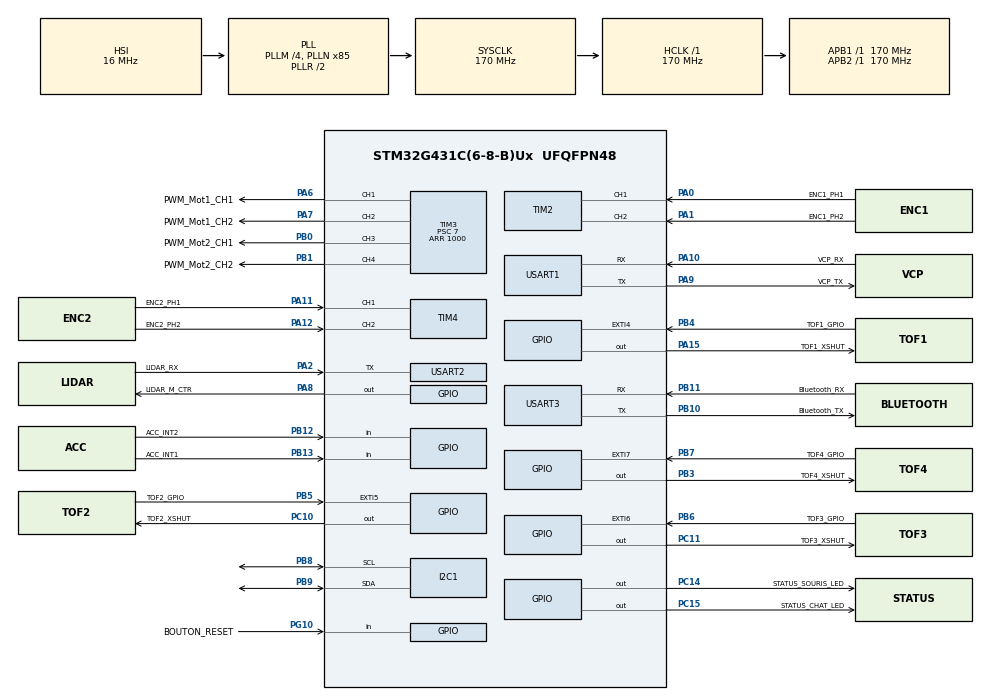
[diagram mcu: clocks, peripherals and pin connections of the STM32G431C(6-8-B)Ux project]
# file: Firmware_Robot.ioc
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Dma.Request0=USART2_RX
Dma.USART2_RX.0.Direction=DMA_PERIPH_TO_MEMORY
Dma.USART2_RX.0.EventEnable=DISABLE
Dma.USART2_RX.0.Instance=DMA1_Channel1
Dma.USART2_RX.0.MemDataAlignment=DMA_MDATAALIGN_BYTE
Dma.USART2_RX.0.MemInc=DMA_MINC_ENABLE
Dma.USART2_RX.0.Mode=DMA_CIRCULAR
Dma.USART2_RX.0.PeriphDataAlignment=DMA_PDATAALIGN_BYTE
Dma.USART2_RX.0.PeriphInc=DMA_PINC_DISABLE
Dma.USART2_RX.0.Polarity=HAL_DMAMUX_REQ_GEN_RISING
Dma.USART2_RX.0.Priority=DMA_PRIORITY_LOW
Dma.USART2_RX.0.RequestNumber=1
Dma.USART2_RX.0.SignalID=NONE
Dma.USART2_RX.0.SyncEnable=DISABLE
Dma.USART2_RX.0.SyncPolarity=HAL_DMAMUX_SYNC_NO_EVENT
Dma.USART2_RX.0.SyncRequestNumber=1
Dma.USART2_RX.0.SyncSignalID=NONE
FREERTOS.Tasks01=defaultTask,0,128,StartDefaultTask,Default,NULL,Dynamic,NULL,NULL
FREERTOS.configTOTAL_HEAP_SIZE=20000
FREERTOS.configUSE_NEWLIB_REENTRANT=1
I2C1.Timing=0x40B285C2
Mcu.Family=STM32G4
Mcu.Name=STM32G431C(6-8-B)Ux
Mcu.Package=UFQFPN48
NVIC.DMA1_Channel1_IRQn=true\:5\:0\:false\:false\:true\:true\:false\:true\:true
NVIC.EXTI4_IRQn=true\:5\:0\:false\:false\:true\:true\:true\:true\:true
NVIC.EXTI9_5_IRQn=true\:5\:0\:false\:false\:true\:true\:true\:true\:true
NVIC.PriorityGroup=NVIC_PRIORITYGROUP_4
NVIC.TIM1_UP_TIM16_IRQn=true\:15\:0\:false\:false\:true\:false\:false\:true\:true
NVIC.TimeBase=TIM1_UP_TIM16_IRQn
NVIC.TimeBaseIP=TIM1
NVIC.USART3_IRQn=true\:5\:0\:false\:false\:true\:true\:true\:true\:true
PA0.GPIO_Label=ENC1_PH1
PA0.Signal=S_TIM2_CH1
PA1.GPIO_Label=ENC1_PH2
PA1.Signal=S_TIM2_CH2
PA10.GPIO_Label=VCP_RX
PA10.Mode=Asynchronous
PA10.Signal=USART1_RX
PA11.GPIO_Label=ENC2_PH1
PA11.Signal=S_TIM4_CH1
PA12.GPIO_Label=ENC2_PH2
PA12.Signal=S_TIM4_CH2
PA13.Mode=Serial_Wire
PA13.Signal=SYS_JTMS-SWDIO
PA14.Mode=Serial_Wire
PA14.Signal=SYS_JTCK-SWCLK
PA15.GPIO_Label=TOF1_XSHUT
PA15.Signal=GPIO_Output
PA2.GPIO_Label=LIDAR_RX
PA2.Mode=Half_duplex(single_wire_mode)
PA2.Signal=USART2_TX
PA6.GPIO_Label=PWM_Mot1_CH1
PA6.Signal=S_TIM3_CH1
PA7.GPIO_Label=PWM_Mot1_CH2
PA7.Signal=S_TIM3_CH2
PA8.GPIO_Label=LIDAR_M_CTR
PA8.Signal=GPIO_Output
PA9.GPIO_Label=VCP_TX
PA9.Mode=Asynchronous
PA9.Signal=USART1_TX
PB0.GPIO_Label=PWM_Mot2_CH1
PB0.Signal=S_TIM3_CH3
PB1.GPIO_Label=PWM_Mot2_CH2
PB1.Signal=S_TIM3_CH4
PB10.GPIO_Label=Bluetooth_TX
PB10.Mode=Asynchronous
PB10.Signal=USART3_TX
PB11.GPIO_Label=Bluetooth_RX
PB11.Mode=Asynchronous
PB11.Signal=USART3_RX
PB12.GPIO_Label=ACC_INT2
PB12.Signal=GPIO_Input
PB13.GPIO_Label=ACC_INT1
PB13.Signal=GPIO_Input
PB3.GPIO_Label=TOF4_XSHUT
PB3.Signal=GPIO_Output
PB4.GPIO_Label=TOF1_GPIO
PB4.GPIO_ModeDefaultEXTI=GPIO_MODE_IT_FALLING
PB4.GPIO_PuPd=GPIO_PULLUP
PB4.Signal=GPXTI4
PB5.GPIO_Label=TOF2_GPIO
PB5.GPIO_ModeDefaultEXTI=GPIO_MODE_IT_FALLING
PB5.GPIO_PuPd=GPIO_PULLUP
PB5.Signal=GPXTI5
PB6.GPIO_Label=TOF3_GPIO
PB6.GPIO_ModeDefaultEXTI=GPIO_MODE_IT_FALLING
PB6.GPIO_PuPd=GPIO_PULLUP
PB6.Signal=GPXTI6
PB7.GPIO_Label=TOF4_GPIO
PB7.GPIO_ModeDefaultEXTI=GPIO_MODE_IT_FALLING
PB7.GPIO_PuPd=GPIO_PULLUP
PB7.Signal=GPXTI7
PB8-BOOT0.Mode=I2C
PB8-BOOT0.Signal=I2C1_SCL
PB9.Mode=I2C
PB9.Signal=I2C1_SDA
PC10.GPIO_Label=TOF2_XSHUT
PC10.Signal=GPIO_Output
PC11.GPIO_Label=TOF3_XSHUT
PC11.Signal=GPIO_Output
PC14-OSC32_IN.GPIO_Label=STATUS_SOURIS_LED
PC14-OSC32_IN.Signal=GPIO_Output
PC15-OSC32_OUT.GPIO_Label=STATUS_CHAT_LED
PC15-OSC32_OUT.Signal=GPIO_Output
PF0-OSC_IN.Mode=HSE-External-Oscillator
PF0-OSC_IN.Signal=RCC_OSC_IN
PF1-OSC_OUT.Mode=HSE-External-Oscillator
PF1-OSC_OUT.Signal=RCC_OSC_OUT
PG10-NRST.GPIO_Label=BOUTON_RESET
PG10-NRST.Signal=GPIO_Input
ProjectManager.HeapSize=0x200
ProjectManager.StackSize=0x400
ProjectManager.TargetToolchain=STM32CubeIDE
RCC.ADC12Freq_Value=170000000
RCC.AHBFreq_Value=170000000
RCC.APB1Freq_Value=170000000
RCC.APB1TimFreq_Value=170000000
RCC.APB2Freq_Value=170000000
RCC.APB2TimFreq_Value=170000000
RCC.CortexFreq_Value=170000000
RCC.EXTERNAL_CLOCK_VALUE=12288000
RCC.HCLKFreq_Value=170000000
RCC.HSE_VALUE=16000000
RCC.HSI48_VALUE=48000000
RCC.HSI_VALUE=16000000
RCC.LSE_VALUE=32768
RCC.PLLM=RCC_PLLM_DIV4
RCC.PLLN=85
RCC.SYSCLKFreq_VALUE=170000000
RCC.SYSCLKSource=RCC_SYSCLKSOURCE_PLLCLK
RCC.USBFreq_Value=170000000
RCC.VCOOutputFreq_Value=340000000
SH.S_TIM2_CH1.0=TIM2_CH1,Encoder_Interface
SH.S_TIM2_CH2.0=TIM2_CH2,Encoder_Interface
SH.S_TIM3_CH1.0=TIM3_CH1,PWM Generation1 CH1
SH.S_TIM3_CH2.0=TIM3_CH2,PWM Generation2 CH2
SH.S_TIM3_CH3.0=TIM3_CH3,PWM Generation3 CH3
SH.S_TIM3_CH4.0=TIM3_CH4,PWM Generation4 CH4
SH.S_TIM4_CH1.0=TIM4_CH1,Encoder_Interface
SH.S_TIM4_CH2.0=TIM4_CH2,Encoder_Interface
TIM2.EncoderMode=TIM_ENCODERMODE_TI12
TIM3.Channel-PWM\ Generation1\ CH1=TIM_CHANNEL_1
TIM3.Channel-PWM\ Generation2\ CH2=TIM_CHANNEL_2
TIM3.Channel-PWM\ Generation3\ CH3=TIM_CHANNEL_3
TIM3.Channel-PWM\ Generation4\ CH4=TIM_CHANNEL_4
TIM3.PeriodNoDither=1000
TIM3.Prescaler=7
TIM4.EncoderMode=TIM_ENCODERMODE_TI12
USART1.VirtualMode-Asynchronous=VM_ASYNC
USART2.Mode=MODE_RX
USART2.VirtualMode-Half_duplex(single_wire_mode)=VM_ASYNC
USART3.VirtualMode-Asynchronous=VM_ASYNC
USART3.VirtualMode-Half_duplex(single_wire_mode)=VM_ASYNC
VP_FREERTOS_VS_CMSIS_V1.Mode=CMSIS_V1
VP_SYS_VS_DBSignals.Mode=DisableDeadBatterySignals
VP_SYS_VS_tim1.Mode=TIM1
board=custom

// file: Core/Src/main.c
/* USER CODE BEGIN Header */
/**
  ******************************************************************************
  * @file           : main.c
  * @brief          : Main program body
  ******************************************************************************
  * @attention
  *
  * Copyright (c) 2025 STMicroelectronics.
  * All rights reserved.
  *
  * This software is licensed under terms that can be found in the LICENSE file
  * in the root directory of this software component.
  * If no LICENSE file comes with this software, it is provided AS-IS.
  *
  ******************************************************************************
  */
/* USER CODE END Header */
#include "main.h"
#include "cmsis_os.h"
#include "dma.h"
#include "i2c.h"
#include "tim.h"
#include "usart.h"
#include "gpio.h"

/* USER CODE BEGIN Includes */
#include "tof.h"
#include <stdio.h>
/* USER CODE END Includes */

void SystemClock_Config(void);
void MX_FREERTOS_Init(void);

/* USER CODE BEGIN 0 */
int __io_putchar(int ch)
{
	HAL_UART_Transmit(&huart1, (uint8_t*)&ch, 1, HAL_MAX_DELAY);
	HAL_UART_Transmit(&huart3, (uint8_t*)&ch, 1, HAL_MAX_DELAY);
	return ch;
}
/* USER CODE END 0 */

int main(void)
{

  /* MCU Configuration--------------------------------------------------------*/

  /* Reset of all peripherals, Initializes the Flash interface and the Systick. */
  HAL_Init();

  /* Configure the system clock */
  SystemClock_Config();

  /* Initialize all configured peripherals */
  MX_GPIO_Init();
  MX_DMA_Init();
  MX_I2C1_Init();
  MX_USART2_UART_Init();
  MX_USART3_UART_Init();
  MX_USART1_UART_Init();
  MX_TIM2_Init();
  MX_TIM3_Init();
  MX_TIM4_Init();
  /* USER CODE BEGIN 2 */
  printf("Starting System...\r\n");
  TOF_Init_All();
  printf("TOF Init Done.\r\n");
  /* USER CODE END 2 */

  /* Call init function for freertos objects (in cmsis_os2.c) */
  MX_FREERTOS_Init();

  /* Start scheduler */
  vTaskStartScheduler();

  /* We should never get here as control is now taken by the scheduler */

  /* Infinite loop */
  while (1)
  {

  }
}

void SystemClock_Config(void)
{
  RCC_OscInitTypeDef RCC_OscInitStruct = {0};
  RCC_ClkInitTypeDef RCC_ClkInitStruct = {0};

  /** Configure the main internal regulator output voltage
  */
  HAL_PWREx_ControlVoltageScaling(PWR_REGULATOR_VOLTAGE_SCALE1_BOOST);

  /** Initializes the RCC Oscillators according to the specified parameters
  * in the RCC_OscInitTypeDef structure.
  */
  RCC_OscInitStruct.OscillatorType = RCC_OSCILLATORTYPE_HSI;
  RCC_OscInitStruct.HSIState = RCC_HSI_ON;
  RCC_OscInitStruct.HSICalibrationValue = RCC_HSICALIBRATION_DEFAULT;
  RCC_OscInitStruct.PLL.PLLState = RCC_PLL_ON;
  RCC_OscInitStruct.PLL.PLLSource = RCC_PLLSOURCE_HSI;
  RCC_OscInitStruct.PLL.PLLM = RCC_PLLM_DIV4;
  RCC_OscInitStruct.PLL.PLLN = 85;
  RCC_OscInitStruct.PLL.PLLP = RCC_PLLP_DIV2;
  RCC_OscInitStruct.PLL.PLLQ = RCC_PLLQ_DIV2;
  RCC_OscInitStruct.PLL.PLLR = RCC_PLLR_DIV2;
  if (HAL_RCC_OscConfig(&RCC_OscInitStruct) != HAL_OK)
  {
    Error_Handler();
  }

  /** Initializes the CPU, AHB and APB buses clocks
  */
  RCC_ClkInitStruct.ClockType = RCC_CLOCKTYPE_HCLK|RCC_CLOCKTYPE_SYSCLK
                              |RCC_CLOCKTYPE_PCLK1|RCC_CLOCKTYPE_PCLK2;
  RCC_ClkInitStruct.SYSCLKSource = RCC_SYSCLKSOURCE_PLLCLK;
  RCC_ClkInitStruct.AHBCLKDivider = RCC_SYSCLK_DIV1;
  RCC_ClkInitStruct.APB1CLKDivider = RCC_HCLK_DIV1;
  RCC_ClkInitStruct.APB2CLKDivider = RCC_HCLK_DIV1;

  if (HAL_RCC_ClockConfig(&RCC_ClkInitStruct, FLASH_LATENCY_4) != HAL_OK)
  {
    Error_Handler();
  }
}

void HAL_TIM_PeriodElapsedCallback(TIM_HandleTypeDef *htim)
{
  if (htim->Instance == TIM1)
  {
    HAL_IncTick();
  }
}

void Error_Handler(void)
{
  __disable_irq();
  while (1)
  {
  }
}

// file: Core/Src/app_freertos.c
/* USER CODE BEGIN Header */
/**
  ******************************************************************************
  * File Name          : app_freertos.c
  * Description        : Code for freertos applications
  ******************************************************************************
  * @attention
  *
  * Copyright (c) 2025 STMicroelectronics.
  * All rights reserved.
  *
  * This software is licensed under terms that can be found in the LICENSE file
  * in the root directory of this software component.
  * If no LICENSE file comes with this software, it is provided AS-IS.
  *
  ******************************************************************************
  */
/* USER CODE END Header */

#include "FreeRTOS.h"
#include "task.h"
#include "main.h"
#include "cmsis_os.h"

/* USER CODE BEGIN Includes */
#include "usart.h"
#include "i2c.h"
#include "tim.h"
#include <stdio.h>
#include "lidar.h"
#include "imu.h"
#include "tof.h"
#include "motor.h"
#include "pid.h"
#include "odometry.h"
#include "strategy.h"
#include "hc-05_bluetooth.h"

extern UART_HandleTypeDef huart1;
extern UART_HandleTypeDef huart3;
/* USER CODE END Includes */

/* USER CODE BEGIN Variables */
// Task Handles
TaskHandle_t xLidarTaskHandle = NULL;
TaskHandle_t xImuTaskHandle = NULL;
TaskHandle_t xSafetyTaskHandle = NULL;
TaskHandle_t xControlTaskHandle = NULL;

// Mutex Handles
SemaphoreHandle_t xI2C1Mutex = NULL;
SemaphoreHandle_t xUARTMutex = NULL;

// Lidar Buffer
uint8_t lidar_dma_buffer[LIDAR_DMA_BUFFER_SIZE];

// Motor Handles
Motor_Handle_t hMotor1;
Motor_Handle_t hMotor2;

// Control & Navigation
PID_Controller_t pid_vel_left;  // PID Vitesse Moteur Gauche (Motor 2)
PID_Controller_t pid_vel_right; // PID Vitesse Moteur Droit (Motor 1)
Odometry_t robot_odom;          // Position du robot (X, Y, Theta)

volatile float target_speed_lin_x = 0.0f; // Vitesse linéaire cible
volatile float target_speed_ang_z = 0.0f; // Vitesse de rotation cible

volatile uint8_t g_safety_override = 0;

/* USER CODE END Variables */
osThreadId defaultTaskHandle;

/* USER CODE BEGIN FunctionPrototypes */
void vLidarTask(void *pvParameters);
void vImuTask(void *pvParameters);
void vSafetyTask(void *pvParameters);
void vControlTask(void *pvParameters);
void MX_Motor_Init(void);
/* USER CODE END FunctionPrototypes */

void StartDefaultTask(void const * argument);

void MX_FREERTOS_Init(void); /* (MISRA C 2004 rule 8.1) */

void MX_FREERTOS_Init(void) {
  /* USER CODE BEGIN Init */

  /* Create Mutexes */
  xI2C1Mutex = xSemaphoreCreateMutex();
  xUARTMutex = xSemaphoreCreateMutex();

  /* Initialize Drivers */
  MX_Motor_Init();
  Strategy_Init();
  HC05_Init();

  /* Create Tasks */
  if (xTaskCreate(vImuTask, "ImuTask", 256, NULL, 1, &xImuTaskHandle) != pdPASS) {
      printf("IMU Task Creation Failed\r\n");
      Error_Handler();
  }

  if (xTaskCreate(vLidarTask, "LidarTask", 512, NULL, 2, &xLidarTaskHandle) != pdPASS) {
      printf("Lidar Task Creation Failed\r\n");
      Error_Handler();
  }

  if (xTaskCreate(vSafetyTask, "SafetyTask", 256, NULL, 3, &xSafetyTaskHandle) != pdPASS) {
      printf("Safety Task Creation Failed\r\n");
      Error_Handler();
  }

  if (xTaskCreate(vControlTask, "ControlTask", 512, NULL, 4, &xControlTaskHandle) != pdPASS) {
      printf("Control Task Creation Failed\r\n");
      Error_Handler();
  }

  /* USER CODE END Init */
}

/* USER CODE BEGIN Application */

void MX_Motor_Init(void)
{
  /* Initialize Motors */
  // Motor 1 (Right): TIM3 CH1/CH2, Encoder TIM2 (32-bit)
  hMotor1.pwm_timer = &htim3;
  hMotor1.channel_fwd = TIM_CHANNEL_1; // PA6
  hMotor1.channel_rev = TIM_CHANNEL_2; // PA7
  hMotor1.enc_timer = &htim2;
  hMotor1.enc_resolution = 2048; //(Mode TI1/TI2)
  Motor_Init(&hMotor1);
  hMotor1.pwm_ramp_step = 100.0f;

  // Motor 2 (Left): TIM3 CH3/CH4, Encoder TIM4 (16-bit)
  hMotor2.pwm_timer = &htim3;
  hMotor2.channel_fwd = TIM_CHANNEL_3; // PB0
  hMotor2.channel_rev = TIM_CHANNEL_4; // PB1
  hMotor2.enc_timer = &htim4;
  hMotor2.enc_resolution = 2048;
  Motor_Init(&hMotor2);
  hMotor2.pwm_ramp_step = 100.0f;

  hMotor1.enc_timer->Instance->SMCR &= ~TIM_SMCR_ETF;
  hMotor1.enc_timer->Instance->SMCR |= (0x08 << TIM_SMCR_ETF_Pos);
  hMotor2.enc_timer->Instance->SMCR &= ~TIM_SMCR_ETF;
  hMotor2.enc_timer->Instance->SMCR |= (0x08 << TIM_SMCR_ETF_Pos);
}

void vControlTask(void *pvParameters)
{
    const float dt = 0.01f;

    PID_Init(&pid_vel_left,  5.0f, 20.0f, 0.0f, dt, -100.0f, 100.0f);
    PID_Init(&pid_vel_right, 5.0f, 20.0f, 0.0f, dt, -100.0f, 100.0f);

    Odom_Init(&robot_odom);
    Odom_SetPosition(&robot_odom, 0.0f, 0.0f, 0.0f);

    vTaskDelay(pdMS_TO_TICKS(500));

    Motor_ResetEncoder(&hMotor1);
    Motor_ResetEncoder(&hMotor2);

    PID_Reset(&pid_vel_left);
    PID_Reset(&pid_vel_right);

    TickType_t xLastWakeTime;
    xLastWakeTime = xTaskGetTickCount();

    for(;;)
    {
        Motor_UpdateSpeed(&hMotor1, dt); // Droit
        Motor_UpdateSpeed(&hMotor2, dt); // Gauche

        if (g_safety_override == 0) {
            // Force Forward Motion (Low Speed Test)
            /*target_speed_lin_x = 150.0f; // 150 mm/s
            target_speed_ang_z = 0.0f;   // Straight
            */
            if (Strategy_IsEnabled()) {
                Strategy_Update();
            } else {
                target_speed_lin_x = 0;
                target_speed_ang_z = 0;
            }

        }

        float speed_L = -hMotor2.speed_rad_s;
        float speed_R = hMotor1.speed_rad_s;
        Odom_Update(&robot_odom, speed_L, speed_R, dt);

        if (g_safety_override == 0)
        {
            float v_lin = target_speed_lin_x;
            float v_ang = target_speed_ang_z;
            float half_track = WHEEL_TRACK / 2.0f;
            float radius = WHEEL_DIAMETER / 2.0f;

            float target_rad_L = (v_lin - (v_ang * half_track)) / radius;
            float target_rad_R = (v_lin + (v_ang * half_track)) / radius;

            float pwm_L = PID_Compute(&pid_vel_left,  target_rad_L, speed_L);
            float pwm_R = PID_Compute(&pid_vel_right, target_rad_R, speed_R);

            Motor_SetSpeed(&hMotor2, -pwm_L);
            Motor_SetSpeed(&hMotor1, pwm_R);

            Motor_UpdatePWM(&hMotor2);
            Motor_UpdatePWM(&hMotor1);
        }
        vTaskDelayUntil(&xLastWakeTime, pdMS_TO_TICKS(10));
    }
}

void vLidarTask(void *pvParameters)
{
  ydlidar_init(lidar_dma_buffer, LIDAR_DMA_BUFFER_SIZE);

  uint16_t old_pos = 0;
  static uint32_t last_check = 0;

  for(;;)
  {
    uint16_t pos = LIDAR_DMA_BUFFER_SIZE - __HAL_DMA_GET_COUNTER(huart2.hdmarx);

    if (pos != old_pos) {
      if (pos > old_pos) {
        ydlidar_process_data(&lidar_dma_buffer[old_pos], pos - old_pos);
      } else {
        ydlidar_process_data(&lidar_dma_buffer[old_pos], LIDAR_DMA_BUFFER_SIZE - old_pos);
        if (pos > 0) {
            ydlidar_process_data(&lidar_dma_buffer[0], pos);
        }
      }
      old_pos = pos;
    }

    if ((HAL_GetTick() - last_check) > 100) {
        LidarObject_t objects[MAX_LIDAR_OBJECTS];
        uint8_t count = 0;

        if (xSemaphoreTake(xUARTMutex, portMAX_DELAY) == pdTRUE) {
            ydlidar_detect_objects(objects, &count);
            ydlidar_update_tracking(objects, count);

            xSemaphoreGive(xUARTMutex);

            // Get the closest tracked object and print its details
            LidarTarget_t closest_object = ydlidar_get_target();
            if (closest_object.is_valid) {
                printf("Closest Object -> Angle: %.2f, Distance: %.2f\r\n", closest_object.angle, closest_object.distance);
            }
        }

        last_check = HAL_GetTick();
    }

    vTaskDelay(pdMS_TO_TICKS(10));
  }
}

void vImuTask(void *pvParameters)
{
  if (xSemaphoreTake(xI2C1Mutex, portMAX_DELAY) == pdTRUE) {
      if (ADXL343_Init(&hi2c1) != HAL_OK) {
          printf("IMU Init Failed\r\n");
      } else {
          ADXL343_ConfigShock(&hi2c1, 3.5f, 10.0f);
          printf("IMU Init OK\r\n");
      }
      xSemaphoreGive(xI2C1Mutex);
  }

  adxl343_axes_t accel_data;
  uint8_t error_count = 0;

  for(;;)
  {
    if (xSemaphoreTake(xI2C1Mutex, portMAX_DELAY) == pdTRUE) {

        uint8_t shock_detected = 0;
        static uint32_t last_shock_time = 0;
        HAL_StatusTypeDef status_read;

        // Read Axes
        status_read = ADXL343_ReadAxes(&hi2c1, &accel_data);

        if (status_read != HAL_OK) {
            error_count++;
        } else {
            error_count = 0;
            if (ADXL343_CheckShock(&hi2c1)) {
                // Ignorer le choc si la manoeuvre de sécurité est en cours
                if (g_safety_override == 0) {
                    shock_detected = 1;
                }
            }
        }

        if (error_count > 5) {
            printf("IMU I2C Error. Resetting...\r\n");
            HAL_I2C_DeInit(&hi2c1);
            MX_I2C1_Init();
            HAL_Delay(10);
            ADXL343_Init(&hi2c1);
            ADXL343_ConfigShock(&hi2c1, 3.5f, 10.0f);
            error_count = 0;
        }

        xSemaphoreGive(xI2C1Mutex);

        if (shock_detected && (HAL_GetTick() - last_shock_time > 2000)) {
            printf("IMU: SHOCK DETECTED! Toggling Role.\r\n");
            Strategy_ToggleRole();
            last_shock_time = HAL_GetTick();
        }
    }
    vTaskDelay(pdMS_TO_TICKS(50));
  }
}

void vSafetyTask(void *pvParameters)
{
  uint16_t dist[4] = {0};

  // Delay start to allow sensors to boot
  vTaskDelay(pdMS_TO_TICKS(500));

  for(;;) {
      // Poll sensors (Blocking call - up to 20ms per sensor if not ready)
      if (xSemaphoreTake(xI2C1Mutex, portMAX_DELAY) == pdTRUE) {
          TOF_Read_All(dist);
          xSemaphoreGive(xI2C1Mutex);
      }

      // Check for Void (> 500mm)
      // TOF1: Fwd Right, TOF2: Fwd Left, TOF3: Rear Left, TOF4: Rear Right
      int void_fwd_right  = (dist[0] > 200);
      int void_fwd_left   = (dist[1] > 200);
      int void_rear_left  = (dist[2] > 200);
      int void_rear_right = (dist[3] > 200);

      if (void_fwd_left || void_fwd_right) {

          printf("Safety: VOID DETECTED! (D1:%d D2:%d D3:%d D4:%d)\r\n", dist[0], dist[1], dist[2], dist[3]);
          g_safety_override = 1;
          HAL_GPIO_WritePin(GPIOC, STATUS_SOURIS_LED_Pin, GPIO_PIN_SET);

          Motor_SetSpeed(&hMotor1, 0.0f);
          Motor_SetSpeed(&hMotor2, 0.0f);
          Motor_UpdatePWM(&hMotor1);
          Motor_UpdatePWM(&hMotor2);
          vTaskDelay(pdMS_TO_TICKS(500));

          Motor_SetSpeed(&hMotor1, -50.0f);
          Motor_SetSpeed(&hMotor2, 50.0f);
          Motor_UpdatePWM(&hMotor1);
          Motor_UpdatePWM(&hMotor2);
          vTaskDelay(pdMS_TO_TICKS(600));

          Motor_SetSpeed(&hMotor1, 50.0f);
          Motor_SetSpeed(&hMotor2, 50.0f);
          Motor_UpdatePWM(&hMotor1);
          Motor_UpdatePWM(&hMotor2);
          vTaskDelay(pdMS_TO_TICKS(800));

          PID_Reset(&pid_vel_left);
          PID_Reset(&pid_vel_right);
          HAL_GPIO_WritePin(GPIOC, STATUS_SOURIS_LED_Pin, GPIO_PIN_RESET);
          g_safety_override = 0;
      }
      if (void_rear_left || void_rear_right){
    	  printf("Safety: VOID DETECTED! (D1:%d D2:%d D3:%d D4:%d)\r\n", dist[0], dist[1], dist[2], dist[3]);
      g_safety_override = 1;
      HAL_GPIO_WritePin(GPIOC, STATUS_SOURIS_LED_Pin, GPIO_PIN_SET);

      Motor_SetSpeed(&hMotor1, 0.0f);
      Motor_SetSpeed(&hMotor2, 0.0f);
      Motor_UpdatePWM(&hMotor1);
      Motor_UpdatePWM(&hMotor2);
      vTaskDelay(pdMS_TO_TICKS(500));

      Motor_SetSpeed(&hMotor1, 50.0f);
      Motor_SetSpeed(&hMotor2, -50.0f);
      Motor_UpdatePWM(&hMotor1);
      Motor_UpdatePWM(&hMotor2);
      vTaskDelay(pdMS_TO_TICKS(600));

      Motor_SetSpeed(&hMotor1, 50.0f);
      Motor_SetSpeed(&hMotor2, 50.0f);
      Motor_UpdatePWM(&hMotor1);
      Motor_UpdatePWM(&hMotor2);
      vTaskDelay(pdMS_TO_TICKS(800));

      PID_Reset(&pid_vel_left);
      PID_Reset(&pid_vel_right);
      HAL_GPIO_WritePin(GPIOC, STATUS_SOURIS_LED_Pin, GPIO_PIN_RESET);
      g_safety_override = 0;
  }

      vTaskDelay(pdMS_TO_TICKS(10));
  }
}

// Callback pour la réception Bluetooth
void HAL_UART_RxCpltCallback(UART_HandleTypeDef *huart)
{
    if (huart->Instance == USART3) {
        HC05_RxCallback();
    }
}
/* USER CODE END Application */
